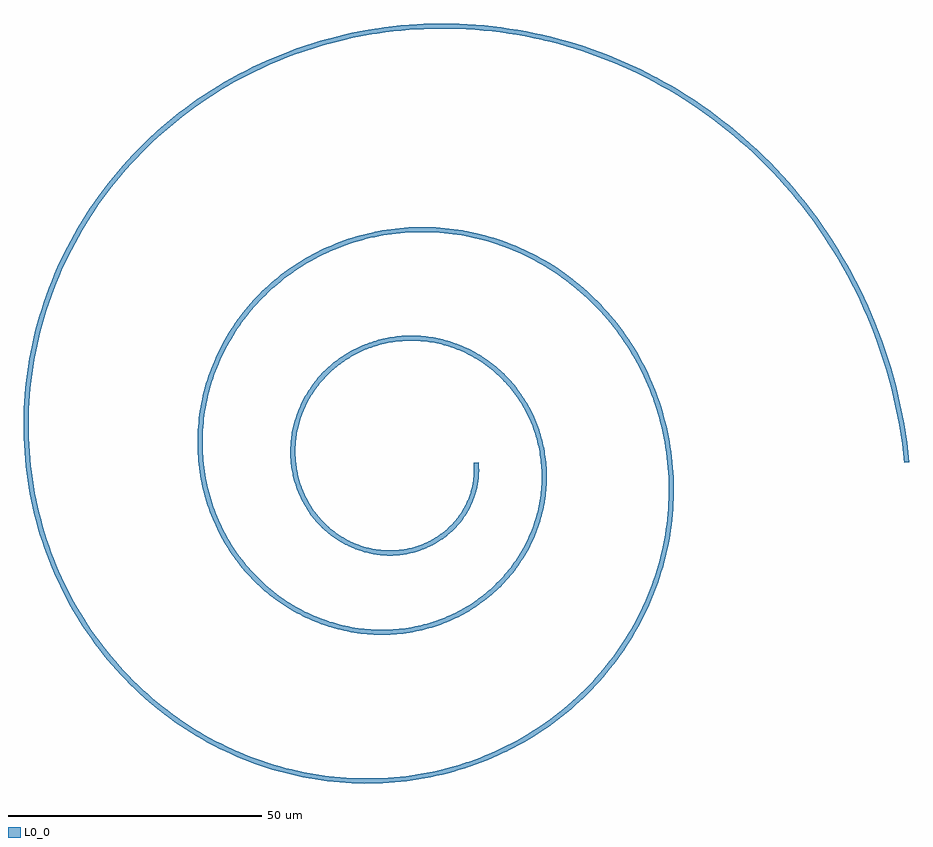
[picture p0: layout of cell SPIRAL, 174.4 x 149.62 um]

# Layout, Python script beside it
import gdspy
import numpy as np

def generate_spiral_points(start_t, end_t, num_points):
    t = np.linspace(start_t, end_t, num_points)
    r = np.exp(-0.1 * t)
    x = r * np.cos(t)
    y = r * np.sin(t)
    return np.column_stack((x, y))

# Create a new library
lib = gdspy.GdsLibrary()

# Create a new cell
cell = lib.new_cell('SPIRAL')

# Generate spiral points
spiral_points = generate_spiral_points(0, 6*np.pi, 1000)

# Scale the spiral (optional, adjust as needed)
scale_factor = 100  # Adjust this value to change the size of the spiral
spiral_points *= scale_factor

# Create a path for the spiral
path = gdspy.FlexPath(
    spiral_points,
    1,  # width of the line
    layer=0,
    datatype=0
)

# Add the path to the cell
cell.add(path)

# Save the design to a GDS file
lib.write_gds('parametric_spiral.gds')

print("GDS file 'parametric_spiral.gds' has been generated.")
